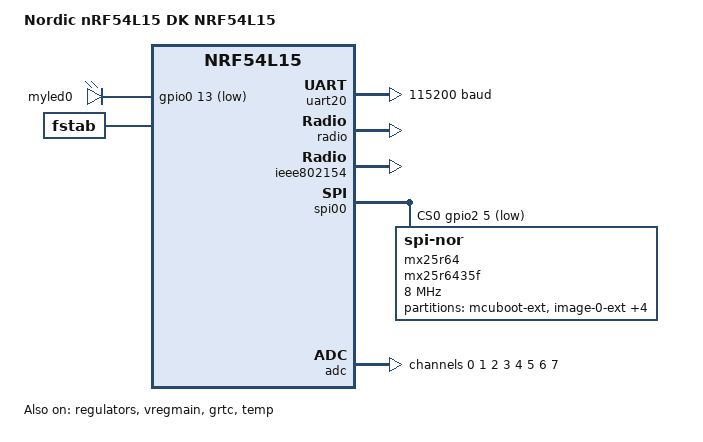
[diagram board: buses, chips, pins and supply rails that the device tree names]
/*
 * Copyright (c) 2024, Your Name
 * SPDX-License-Identifier: Apache-2.0
 */

 /dts-v1/;
 #include <nordic/nrf54l15_cpuapp.dtsi>
 #include "sensing-pinctrl.dtsi"
 
 / {
	 model = "Nordic nRF54L15 DK NRF54L15";
	 compatible = "nordic,nrf54l15-dk-nrf54l15";
 
	 chosen {
		 zephyr,flash-controller = &cpuapp_rram;
		 zephyr,code-partition = &slot0_partition;
		 zephyr,sram = &cpuapp_sram;
		 zephyr,flash = &cpuapp_rram;
		 nordic,pm-ext-flash = &mx25r64;
	 };

	 aliases {
		led0 = &myled0;
	};

	leds {
		compatible = "gpio-leds";
		status = "okay";
		myled0: led_0 {
			gpios = <&gpio0 13 GPIO_ACTIVE_LOW>;
			 };
	};
 };



 &cpuapp_rram {
 	status = "okay";
 	partitions {
 		compatible = "fixed-partitions";
 		#address-cells = <1>;
 		#size-cells = <1>;

 		/* Bootloader (80KB) */
 		boot_partition: partition@0 {
 			label = "mcuboot";
 			reg = <0x00000 0x14000>;  /* 0x00000-0x13FFF */
			};

			/* Primary slot (512KB) */
			slot0_partition: partition@14000 {
				label = "image-0";
				reg = <0x14000 DT_SIZE_K(512)>;  /* 0x14000-0x93FFF */
			};

			/* Secondary slot (512KB) */
			slot1_partition: partition@94000 {
				label = "image-1";
				reg = <0x94000 DT_SIZE_K(512)>;  /* 0x94000-0x113FFF */
			};

			/* TF-M reserved (32KB) */
			/* 0x114000-0x11BFFF */

			/* Storage partition (36KB) */
			storage_partition: partition@11c000 {
				label = "storage";
				reg = <0x11c000 DT_SIZE_K(36)>;  /* 0x11C000-0x124FFF */
			};AC
		};
	};
 
 &cpuapp_sram {
	 status = "okay";
 };
 
 
 &lfxo {
	 load-capacitors = "internal";
	 load-capacitance-femtofarad = <15500>;
 };
 
 &hfxo {
	 load-capacitors = "internal";
	 load-capacitance-femtofarad = <15000>;
 };
 
 &regulators {
	 status = "okay";
 };
 
 &vregmain {
	 status = "okay";
	 regulator-initial-mode = <NRF5X_REG_MODE_DCDC>;
 };
 
 &grtc {
	 owned-channels = <0 1 2 3 4 5 6 7 8 9 10 11>;
	 /* Channels 7-11 reserved for Zero Latency IRQs, 3-4 for FLPR */
	 child-owned-channels = <3 4 7 8 9 10 11>;
	 status = "okay";
 };
 
 &uart20 {
	 status = "okay";
	 pinctrl-0 = <&uart20_default>;
	 pinctrl-1 = <&uart20_sleep>;
	 pinctrl-names = "default", "sleep";
	 current-speed = <115200>; /* Optional: set baudrate */
 };
 
 &gpio0 {
	 status = "okay";
 };
 
 &gpio1 {
	 status = "okay";
 };
 
 &gpio2 {
	 status = "okay";
 };
 
 &gpiote20 {
	 status = "okay";
 };
 
 &gpiote30 {
	 status = "okay";
 };
 
 &radio {
	 status = "okay";
 };
 
 &ieee802154 {
	 status = "okay";
 };
 
 &temp {
	 status = "okay";
 };
 
 &clock {
	 status = "okay";
 };

 &spi00 {
 	status = "okay";
 	cs-gpios = <&gpio2 5 GPIO_ACTIVE_LOW>;
 	pinctrl-0 = <&spi00_default>;
 	pinctrl-1 = <&spi00_sleep>;
 	pinctrl-names = "default", "sleep";

 	mx25r64: mx25r6435f@0 {
 		compatible = "jedec,spi-nor";
 		status = "okay";
 		reg = <0>;
 		spi-max-frequency = <8000000>;
 		jedec-id = [ c2 28 17  ];
 		sfdp-bfp = [ e5 20 f1 ff ff ff ff 03 44 eb 08 6b 08 3b 04 bb ee ff ff ff ff ff 00 ff ff ff 00 ff 0c 20 0f 52 10 d8 00 ff 23 72 f5 00 82 ed 04 cc 44 83 48 44 30 b0 30 b0 f7 c4 d5 5c 00 be 29 ff f0 d0 ff ff  ];
 		size = <67108864>;
 		has-dpd;
 		t-enter-dpd = <10000>;
 		t-exit-dpd = <35000>;
 		requires-ulbpr;
 		partitions {
 			compatible = "fixed-partitions";
 			#address-cells = <1>;
 			#size-cells = <1>;

 			/* Bootloader (80KB) - Same size as internal */
 			boot_partition_ext: partition@0 {
 				label = "mcuboot-ext";
 				reg = <0x00000 0x14000>;  /* 0x00000-0x13FFF */
				};

				/* Primary slot (512KB) - Same size as internal */
				slot0_partition_ext: partition@14000 {
					label = "image-0-ext";
					reg = <0x14000 DT_SIZE_K(512)>;  /* 0x14000-0x93FFF */
				};

				/* Secondary slot (512KB) - Same size as internal */
				slot1_partition_ext: partition@94000 {
					label = "image-1-ext";
					reg = <0x94000 DT_SIZE_K(512)>;  /* 0x94000-0x113FFF */
				};

				/* TF-M reserved (32KB) - Same size as internal */
				tfm_partition_ext: partition@114000 {
					label = "tfm-ext";
					reg = <0x114000 DT_SIZE_K(32)>;  /* 0x114000-0x11BFFF */
				};

				/* Storage partition (36KB) - Same size as internal */
				storage_partition_ext: partition@11c000 {
					label = "storage-ext";
					reg = <0x11c000 DT_SIZE_K(36)>;  /* 0x11C000-0x124FFF */
				};

				/* Additional space for external flash (remaining 7.2MB) */
				user_partition_ext: partition@125000 {
					label = "user-ext";
					reg = <0x125000 0x6DB000>;  /* 0x125000-0x7FFFFF (remaining space) */
				};
			};
 };
};


 
 
 /* ADC setup */
 &adc {
	 reg = <0xd5000 0x1000>;
	 status = "okay";
	 #address-cells = <1>;
	 #size-cells = <0>;
 
	 /* Channel 0 */
	 channel@0 {
		 reg = <0>;
		 zephyr,gain = "ADC_GAIN_1_6";
		 zephyr,reference = "ADC_REF_INTERNAL";
		 zephyr,acquisition-time = <ADC_ACQ_TIME_DEFAULT>;
		 zephyr,input-positive = <NRF_SAADC_AIN0>;
		 zephyr,resolution = <12>;
 
	 };
 
		 channel@1 {
			 reg = <1>;
			 zephyr,gain = "ADC_GAIN_1_6";
			 zephyr,reference = "ADC_REF_INTERNAL";
			 zephyr,acquisition-time = <ADC_ACQ_TIME_DEFAULT>;
			 zephyr,input-positive = <NRF_SAADC_AIN1>;
			 zephyr,resolution = <12>;
 
		 };
 
		 channel@2 {
			 reg = <2>;
			 zephyr,gain = "ADC_GAIN_1_6";
			 zephyr,reference = "ADC_REF_INTERNAL";
			 zephyr,acquisition-time = <ADC_ACQ_TIME_DEFAULT>;
			 zephyr,input-positive = <NRF_SAADC_AIN2>;
			 zephyr,resolution = <12>;
 
		 };
 
		 channel@3 {
			 reg = <3>;
			 zephyr,gain = "ADC_GAIN_1_6";
			 zephyr,reference = "ADC_REF_INTERNAL";
			 zephyr,acquisition-time = <ADC_ACQ_TIME_DEFAULT>;
			 zephyr,input-positive = <NRF_SAADC_AIN3>;
			 zephyr,resolution = <12>;
 
		 };
 
		 channel@4 {
			 reg = <4>;
			 zephyr,gain = "ADC_GAIN_1_6";
			 zephyr,reference = "ADC_REF_INTERNAL";
			 zephyr,acquisition-time = <ADC_ACQ_TIME_DEFAULT>;
			 zephyr,input-positive = <NRF_SAADC_AIN4>;
			 zephyr,resolution = <12>;
 
		 };
 
		 channel@5 {
			 reg = <5>;
			 zephyr,gain = "ADC_GAIN_1_6";
			 zephyr,reference = "ADC_REF_INTERNAL";
			 zephyr,acquisition-time = <ADC_ACQ_TIME_DEFAULT>;
			 zephyr,input-positive = <NRF_SAADC_AIN5>;
			 zephyr,resolution = <12>;
 
		 };
 
		 channel@6 {
			 reg = <6>;
			 zephyr,gain = "ADC_GAIN_1_6";
			 zephyr,reference = "ADC_REF_INTERNAL";
			 zephyr,acquisition-time = <ADC_ACQ_TIME_DEFAULT>;
			 zephyr,input-positive = <NRF_SAADC_AIN6>;
			 zephyr,resolution = <12>;
 
		 };
 
		 channel@7 {
			 reg = <7>;
			 zephyr,gain = "ADC_GAIN_1_6";
			 zephyr,reference = "ADC_REF_INTERNAL";
			 zephyr,acquisition-time = <ADC_ACQ_TIME_DEFAULT>;
			 zephyr,input-positive = <NRF_SAADC_AIN7>;
			 zephyr,resolution = <12>;
 
		 };
	 };

	 / {
	 	fstab {
	 		compatible = "zephyr,fstab";
	 	littlefs_storage: lfs {
	 		compatible = "zephyr,fstab,littlefs";
	 		mount-point = "/lfs1";
	 		partition = <&mx25r64>;
	 		read-size = <16>;
	 		prog-size = <16>;
	 		cache-size = <64>;
	 		lookahead-size = <32>;
	 		block-cycles = <512>;
 		};
		};
	};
